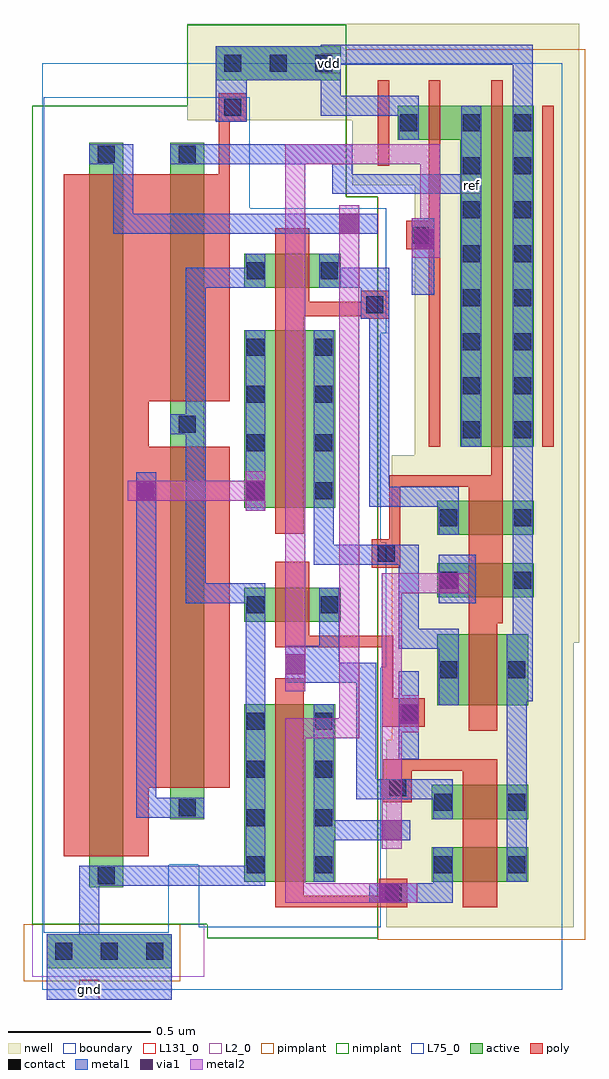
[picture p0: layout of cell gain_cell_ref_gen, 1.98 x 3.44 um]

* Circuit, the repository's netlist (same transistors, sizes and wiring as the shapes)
.SUBCKT gain_cell_ref_gen ref vdd gnd
*.PININFO ref:O gnd:B vdd:B
MM18 net86 net87 gnd gnd nch l=120.0n w=120.0n m=1
MM17 net89 net89 gnd gnd nch l=120.0n w=120.0n m=1
MM16 net85 net89 net84 gnd nch l=100n w=625.00n m=1
MM15 net87 net88 gnd gnd nch l=100n w=625.00n m=1
MM14 ref vdd gnd gnd nch l=800n w=120.0n m=1
MM12 net88 vdd gnd gnd nch l=2.4u w=120.0n m=1
MM13 net84 vdd gnd gnd nch l=1.2u w=120.0n m=1
MM25 net86 net86 vdd vdd pch l=120.0n w=120.0n m=1
MM24 net88 net86 vdd vdd pch l=120.0n w=120.0n m=1
MM23 ref net86 vdd vdd pch l=40n w=120n m=1
MM22 net87 net85 vdd vdd pch l=120.0n w=120.0n m=1
MM21 net89 net85 vdd vdd pch l=120.0n w=120.0n m=1
MM20 net85 net85 vdd vdd pch l=100n w=250.0n m=1
MM19 ref net85 vdd vdd pch l=40n w=1.2u m=1
.ENDS

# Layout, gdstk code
from math import pi, radians
import gdstk
lib = gdstk.Library(unit=1e-6, precision=1e-09)
def R(c, l, rs):  # rectangles x0, y0, x1, y1
    for r in rs: c.add(gdstk.rectangle(r[:2], r[2:], *l))
def A(c, l, x, y, w, h, nx, ny, dx, dy):  # array of equal rectangles
    R(c, l, [(x+i*dx, y+j*dy, x+i*dx+w, y+j*dy+h) for i in range(nx) for j in range(ny)])
L2_0 = (2, 0)
nwell = (3, 0)
active = (6, 0)
poly = (17, 0)
pimplant = (25, 0)
nimplant = (26, 0)
contact = (30, 0)
metal1 = (31, 0)
metal2 = (32, 0)
via1 = (51, 0)
L75_0 = (75, 0)
boundary = (108, 0)
L131_0 = (131, 0)

nch_cdns_730958929170 = lib.new_cell('nch_CDNS_730958929170')
R(nch_cdns_730958929170, active, [(-0.04,0,0,0.12), (0,0,0.8,0.12), (0.8,0,0.91,0.12)])
R(nch_cdns_730958929170, poly, [(0,-0.09,0.8,0), (0,0,0.8,0.12), (0,0.12,0.8,0.21)])
R(nch_cdns_730958929170, nimplant, [(-0.17,-0.2,1.04,0.32)])
R(nch_cdns_730958929170, contact, [(0.84,0.03,0.9,0.09)])
R(nch_cdns_730958929170, metal1, [(0.835,0,0.905,0.12)])
R(nch_cdns_730958929170, L75_0, [(-0.2,-0.16,1.07,0.28)])
nch_cdns_730958929170.add(gdstk.Label('& Vendor     Taiwan Semiconductor manufacturing Corp.', (0,0), layer=63, texttype=63))
nch_cdns_730958929170.add(gdstk.Label('& Product    tsmcN40_PDK', (0,0), layer=63, texttype=63))
nch_cdns_730958929170.add(gdstk.Label('& PDK TechNode "CRN40ULP"', (0,0), layer=63, texttype=63))
nch_cdns_730958929170.add(gdstk.Label('& PDK Version "tsmcN40_CRN40ULP_v1.5_2b_20200409"', (0,0), layer=63, texttype=63))
nch_cdns_730958929170.add(gdstk.Label('& Metric 1', (0,0), layer=63, texttype=63))
nch_cdns_730958929170.add(gdstk.Label('& Distributor TSMC', (0,0), layer=63, texttype=63))
nch_cdns_730958929170.add(gdstk.Label('& SerialNumber 000000', (0,0), layer=63, texttype=63))
nch_cdns_730958929170.add(gdstk.Label('D', (0.87,0.06), layer=127, texttype=0))
nch_cdns_730958929170.add(gdstk.Label('nch', (0,0.045), layer=127, texttype=0))
nch_cdns_730958929170.add(gdstk.Label('0.12/0.8', (0,0), layer=127, texttype=0))
nch_cdns_730958929170.add(gdstk.Label('[@instanceName]', (0.4,0.06), layer=127, texttype=0))

nch_cdns_730958929171 = lib.new_cell('nch_CDNS_730958929171')
R(nch_cdns_730958929171, active, [(-0.11,0,0,0.12), (0,0,0.12,0.12), (0.12,0,0.23,0.12)])
R(nch_cdns_730958929171, poly, [(0,-0.09,0.12,0), (0,0,0.12,0.12), (0,0.12,0.12,0.21)])
R(nch_cdns_730958929171, nimplant, [(-0.24,-0.2,0.36,0.32)])
R(nch_cdns_730958929171, contact, [(-0.1,0.03,-0.04,0.09), (0.16,0.03,0.22,0.09)])
R(nch_cdns_730958929171, metal1, [(-0.105,0,-0.035,0.12), (0.155,0,0.225,0.12)])
R(nch_cdns_730958929171, L75_0, [(-0.27,-0.16,0.39,0.28)])
nch_cdns_730958929171.add(gdstk.Label('& Vendor     Taiwan Semiconductor manufacturing Corp.', (0,0), layer=63, texttype=63))
nch_cdns_730958929171.add(gdstk.Label('& Product    tsmcN40_PDK', (0,0), layer=63, texttype=63))
nch_cdns_730958929171.add(gdstk.Label('& PDK TechNode "CRN40ULP"', (0,0), layer=63, texttype=63))
nch_cdns_730958929171.add(gdstk.Label('& PDK Version "tsmcN40_CRN40ULP_v1.5_2b_20200409"', (0,0), layer=63, texttype=63))
nch_cdns_730958929171.add(gdstk.Label('& Metric 1', (0,0), layer=63, texttype=63))
nch_cdns_730958929171.add(gdstk.Label('& Distributor TSMC', (0,0), layer=63, texttype=63))
nch_cdns_730958929171.add(gdstk.Label('& SerialNumber 000000', (0,0), layer=63, texttype=63))
nch_cdns_730958929171.add(gdstk.Label('S', (-0.07,0.06), layer=127, texttype=0))
nch_cdns_730958929171.add(gdstk.Label('D', (0.19,0.06), layer=127, texttype=0))
nch_cdns_730958929171.add(gdstk.Label('nch', (0,0.045), layer=127, texttype=0))
nch_cdns_730958929171.add(gdstk.Label('0.12/0.12', (0,0), layer=127, texttype=0))
nch_cdns_730958929171.add(gdstk.Label('[@instanceName]', (0.06,0.06), layer=127, texttype=0))

nch_cdns_730958929172 = lib.new_cell('nch_CDNS_730958929172')
R(nch_cdns_730958929172, active, [(-0.11,0,0,0.625), (0,0,0.1,0.625), (0.1,0,0.21,0.625)])
R(nch_cdns_730958929172, poly, [(0,-0.09,0.1,0), (0,0,0.1,0.625), (0,0.625,0.1,0.715)])
R(nch_cdns_730958929172, nimplant, [(-0.24,-0.2,0.34,0.825)])
A(nch_cdns_730958929172, contact, -0.1, 0.03, 0.06, 0.06, 1, 3, 0, 0.17)
A(nch_cdns_730958929172, contact, 0.14, 0.03, 0.06, 0.06, 1, 3, 0, 0.17)
R(nch_cdns_730958929172, contact, [(-0.1,0.535,-0.04,0.595), (0.14,0.535,0.2,0.595)])
R(nch_cdns_730958929172, metal1, [(-0.105,0,-0.035,0.625), (0.135,0,0.205,0.625)])
R(nch_cdns_730958929172, L75_0, [(-0.27,-0.16,0.37,0.785)])
nch_cdns_730958929172.add(gdstk.Label('& Vendor     Taiwan Semiconductor manufacturing Corp.', (0,0), layer=63, texttype=63))
nch_cdns_730958929172.add(gdstk.Label('& Product    tsmcN40_PDK', (0,0), layer=63, texttype=63))
nch_cdns_730958929172.add(gdstk.Label('& PDK TechNode "CRN40ULP"', (0,0), layer=63, texttype=63))
nch_cdns_730958929172.add(gdstk.Label('& PDK Version "tsmcN40_CRN40ULP_v1.5_2b_20200409"', (0,0), layer=63, texttype=63))
nch_cdns_730958929172.add(gdstk.Label('& Metric 1', (0,0), layer=63, texttype=63))
nch_cdns_730958929172.add(gdstk.Label('& Distributor TSMC', (0,0), layer=63, texttype=63))
nch_cdns_730958929172.add(gdstk.Label('& SerialNumber 000000', (0,0), layer=63, texttype=63))
nch_cdns_730958929172.add(gdstk.Label('S', (-0.07,0.312), layer=127, texttype=0))
nch_cdns_730958929172.add(gdstk.Label('D', (0.17,0.312), layer=127, texttype=0))
nch_cdns_730958929172.add(gdstk.Label('nch', (0,0.045), layer=127, texttype=0))
nch_cdns_730958929172.add(gdstk.Label('0.625/0.1', (0,0), layer=127, texttype=0))
nch_cdns_730958929172.add(gdstk.Label('[@instanceName]', (0.05,0.312), layer=127, texttype=0))

pch_cdns_730958929173 = lib.new_cell('pch_CDNS_730958929173')
R(pch_cdns_730958929173, nwell, [(-0.27,-0.16,0.31,1.36)])
R(pch_cdns_730958929173, active, [(-0.11,0,0,1.2), (0,0,0.04,1.2), (0.04,0,0.15,1.2)])
R(pch_cdns_730958929173, poly, [(0,-0.09,0.04,0), (-0.18,0,-0.14,1.2), (0,0,0.04,1.2), (0,1.2,0.04,1.29)])
R(pch_cdns_730958929173, pimplant, [(-0.29,-0.2,-0.24,1.4), (-0.24,-0.2,0.28,1.4)])
A(pch_cdns_730958929173, contact, -0.1, 0.03, 0.06, 0.06, 1, 7, 0, 0.155)
A(pch_cdns_730958929173, contact, 0.08, 0.03, 0.06, 0.06, 1, 7, 0, 0.155)
R(pch_cdns_730958929173, contact, [(-0.1,1.11,-0.04,1.17), (0.08,1.11,0.14,1.17)])
R(pch_cdns_730958929173, metal1, [(-0.105,0,-0.035,1.2), (0.075,0,0.145,1.2)])
pch_cdns_730958929173.add(gdstk.Label('& Vendor     Taiwan Semiconductor manufacturing Corp.', (0,0), layer=63, texttype=63))
pch_cdns_730958929173.add(gdstk.Label('& Product    tsmcN40_PDK', (0,0), layer=63, texttype=63))
pch_cdns_730958929173.add(gdstk.Label('& PDK TechNode "CRN40ULP"', (0,0), layer=63, texttype=63))
pch_cdns_730958929173.add(gdstk.Label('& PDK Version "tsmcN40_CRN40ULP_v1.5_2b_20200409"', (0,0), layer=63, texttype=63))
pch_cdns_730958929173.add(gdstk.Label('& Metric 1', (0,0), layer=63, texttype=63))
pch_cdns_730958929173.add(gdstk.Label('& Distributor TSMC', (0,0), layer=63, texttype=63))
pch_cdns_730958929173.add(gdstk.Label('& SerialNumber 000000', (0,0), layer=63, texttype=63))
pch_cdns_730958929173.add(gdstk.Label('S', (-0.07,0.6), layer=127, texttype=0))
pch_cdns_730958929173.add(gdstk.Label('D', (0.11,0.6), layer=127, texttype=0))
pch_cdns_730958929173.add(gdstk.Label('pch', (0,0.045), layer=127, texttype=0))
pch_cdns_730958929173.add(gdstk.Label('1.2/0.04', (0,0), layer=127, texttype=0))
pch_cdns_730958929173.add(gdstk.Label('[@instanceName]', (0.02,0.6), layer=127, texttype=0))

pch_cdns_730958929174 = lib.new_cell('pch_CDNS_730958929174')
R(pch_cdns_730958929174, nwell, [(-0.27,-0.16,0.37,0.41)])
R(pch_cdns_730958929174, active, [(-0.11,0,0,0.25), (0,0,0.1,0.25), (0.1,0,0.21,0.25)])
R(pch_cdns_730958929174, poly, [(0,-0.09,0.1,0), (0,0,0.1,0.25), (0,0.25,0.1,0.34)])
R(pch_cdns_730958929174, pimplant, [(-0.24,-0.2,0.34,0.45)])
R(pch_cdns_730958929174, contact, [(-0.1,0.095,-0.04,0.155), (0.14,0.095,0.2,0.155)])
R(pch_cdns_730958929174, metal1, [(-0.105,0,-0.035,0.25), (0.135,0,0.205,0.25)])
pch_cdns_730958929174.add(gdstk.Label('& Vendor     Taiwan Semiconductor manufacturing Corp.', (0,0), layer=63, texttype=63))
pch_cdns_730958929174.add(gdstk.Label('& Product    tsmcN40_PDK', (0,0), layer=63, texttype=63))
pch_cdns_730958929174.add(gdstk.Label('& PDK TechNode "CRN40ULP"', (0,0), layer=63, texttype=63))
pch_cdns_730958929174.add(gdstk.Label('& PDK Version "tsmcN40_CRN40ULP_v1.5_2b_20200409"', (0,0), layer=63, texttype=63))
pch_cdns_730958929174.add(gdstk.Label('& Metric 1', (0,0), layer=63, texttype=63))
pch_cdns_730958929174.add(gdstk.Label('& Distributor TSMC', (0,0), layer=63, texttype=63))
pch_cdns_730958929174.add(gdstk.Label('& SerialNumber 000000', (0,0), layer=63, texttype=63))
pch_cdns_730958929174.add(gdstk.Label('S', (-0.07,0.125), layer=127, texttype=0))
pch_cdns_730958929174.add(gdstk.Label('D', (0.17,0.125), layer=127, texttype=0))
pch_cdns_730958929174.add(gdstk.Label('pch', (0,0.045), layer=127, texttype=0))
pch_cdns_730958929174.add(gdstk.Label('0.25/0.1', (0,0), layer=127, texttype=0))
pch_cdns_730958929174.add(gdstk.Label('[@instanceName]', (0.05,0.125), layer=127, texttype=0))

pch_cdns_730958929175 = lib.new_cell('pch_CDNS_730958929175')
R(pch_cdns_730958929175, nwell, [(-0.27,-0.16,0.39,0.28)])
R(pch_cdns_730958929175, active, [(-0.11,0,0,0.12), (0,0,0.12,0.12), (0.12,0,0.23,0.12)])
R(pch_cdns_730958929175, poly, [(0,-0.09,0.12,0), (0,0,0.12,0.12), (0,0.12,0.12,0.21)])
R(pch_cdns_730958929175, pimplant, [(-0.24,-0.2,0.36,0.32)])
R(pch_cdns_730958929175, contact, [(-0.1,0.03,-0.04,0.09), (0.16,0.03,0.22,0.09)])
R(pch_cdns_730958929175, metal1, [(-0.105,0,-0.035,0.12), (0.155,0,0.225,0.12)])
pch_cdns_730958929175.add(gdstk.Label('& Vendor     Taiwan Semiconductor manufacturing Corp.', (0,0), layer=63, texttype=63))
pch_cdns_730958929175.add(gdstk.Label('& Product    tsmcN40_PDK', (0,0), layer=63, texttype=63))
pch_cdns_730958929175.add(gdstk.Label('& PDK TechNode "CRN40ULP"', (0,0), layer=63, texttype=63))
pch_cdns_730958929175.add(gdstk.Label('& PDK Version "tsmcN40_CRN40ULP_v1.5_2b_20200409"', (0,0), layer=63, texttype=63))
pch_cdns_730958929175.add(gdstk.Label('& Metric 1', (0,0), layer=63, texttype=63))
pch_cdns_730958929175.add(gdstk.Label('& Distributor TSMC', (0,0), layer=63, texttype=63))
pch_cdns_730958929175.add(gdstk.Label('& SerialNumber 000000', (0,0), layer=63, texttype=63))
pch_cdns_730958929175.add(gdstk.Label('S', (-0.07,0.06), layer=127, texttype=0))
pch_cdns_730958929175.add(gdstk.Label('D', (0.19,0.06), layer=127, texttype=0))
pch_cdns_730958929175.add(gdstk.Label('pch', (0,0.045), layer=127, texttype=0))
pch_cdns_730958929175.add(gdstk.Label('0.12/0.12', (0,0), layer=127, texttype=0))
pch_cdns_730958929175.add(gdstk.Label('[@instanceName]', (0.06,0.06), layer=127, texttype=0))

pch_cdns_730958929176 = lib.new_cell('pch_CDNS_730958929176')
R(pch_cdns_730958929176, nwell, [(-0.27,-0.16,0.39,0.28)])
R(pch_cdns_730958929176, active, [(-0.11,0,0,0.12), (0,0,0.12,0.12), (0.12,0,0.23,0.12)])
R(pch_cdns_730958929176, poly, [(0,-0.09,0.12,0), (0,0,0.12,0.12), (0,0.12,0.12,0.21)])
R(pch_cdns_730958929176, pimplant, [(-0.24,-0.2,0.36,0.32)])
R(pch_cdns_730958929176, contact, [(-0.1,0.03,-0.04,0.09), (0.16,0.03,0.22,0.09)])
R(pch_cdns_730958929176, metal1, [(-0.105,0,-0.035,0.12), (0.155,0,0.225,0.12)])
pch_cdns_730958929176.add(gdstk.Label('& Vendor     Taiwan Semiconductor manufacturing Corp.', (0,0), layer=63, texttype=63))
pch_cdns_730958929176.add(gdstk.Label('& Product    tsmcN40_PDK', (0,0), layer=63, texttype=63))
pch_cdns_730958929176.add(gdstk.Label('& PDK TechNode "CRN40ULP"', (0,0), layer=63, texttype=63))
pch_cdns_730958929176.add(gdstk.Label('& PDK Version "tsmcN40_CRN40ULP_v1.5_2b_20200409"', (0,0), layer=63, texttype=63))
pch_cdns_730958929176.add(gdstk.Label('& Metric 1', (0,0), layer=63, texttype=63))
pch_cdns_730958929176.add(gdstk.Label('& Distributor TSMC', (0,0), layer=63, texttype=63))
pch_cdns_730958929176.add(gdstk.Label('& SerialNumber 000000', (0,0), layer=63, texttype=63))
pch_cdns_730958929176.add(gdstk.Label('S', (-0.07,0.06), layer=127, texttype=0))
pch_cdns_730958929176.add(gdstk.Label('D', (0.19,0.06), layer=127, texttype=0))
pch_cdns_730958929176.add(gdstk.Label('pch', (0,0.045), layer=127, texttype=0))
pch_cdns_730958929176.add(gdstk.Label('0.12/0.12', (0,0), layer=127, texttype=0))
pch_cdns_730958929176.add(gdstk.Label('[@instanceName]', (0.06,0.06), layer=127, texttype=0))

pch_cdns_730958929177 = lib.new_cell('pch_CDNS_730958929177')
R(pch_cdns_730958929177, nwell, [(-0.27,-0.16,0.27,0.28)])
R(pch_cdns_730958929177, active, [(-0.11,0,0,0.12), (0,0,0.04,0.12), (0.04,0,0.11,0.12)])
R(pch_cdns_730958929177, poly, [(-0.18,-0.09,-0.14,0.21), (0,-0.09,0.04,0), (0,0,0.04,0.12), (0,0.12,0.04,0.21)])
R(pch_cdns_730958929177, pimplant, [(-0.29,-0.2,-0.24,0.32), (-0.24,-0.2,0.24,0.32)])
R(pch_cdns_730958929177, contact, [(-0.1,0.03,-0.04,0.09)])
R(pch_cdns_730958929177, metal1, [(-0.105,0,-0.035,0.12)])
pch_cdns_730958929177.add(gdstk.Label('& Vendor     Taiwan Semiconductor manufacturing Corp.', (0,0), layer=63, texttype=63))
pch_cdns_730958929177.add(gdstk.Label('& Product    tsmcN40_PDK', (0,0), layer=63, texttype=63))
pch_cdns_730958929177.add(gdstk.Label('& PDK TechNode "CRN40ULP"', (0,0), layer=63, texttype=63))
pch_cdns_730958929177.add(gdstk.Label('& PDK Version "tsmcN40_CRN40ULP_v1.5_2b_20200409"', (0,0), layer=63, texttype=63))
pch_cdns_730958929177.add(gdstk.Label('& Metric 1', (0,0), layer=63, texttype=63))
pch_cdns_730958929177.add(gdstk.Label('& Distributor TSMC', (0,0), layer=63, texttype=63))
pch_cdns_730958929177.add(gdstk.Label('& SerialNumber 000000', (0,0), layer=63, texttype=63))
pch_cdns_730958929177.add(gdstk.Label('S', (-0.07,0.06), layer=127, texttype=0))
pch_cdns_730958929177.add(gdstk.Label('pch', (0,0.045), layer=127, texttype=0))
pch_cdns_730958929177.add(gdstk.Label('0.12/0.04', (0,0), layer=127, texttype=0))
pch_cdns_730958929177.add(gdstk.Label('[@instanceName]', (0.02,0.06), layer=127, texttype=0))

nch_cdns_730958929178 = lib.new_cell('nch_CDNS_730958929178')
R(nch_cdns_730958929178, active, [(-0.11,0,0,0.625), (0,0,0.1,0.625), (0.1,0,0.21,0.625)])
R(nch_cdns_730958929178, poly, [(0,-0.09,0.1,0), (0,0,0.1,0.625), (0,0.625,0.1,0.715)])
R(nch_cdns_730958929178, nimplant, [(-0.24,-0.2,0.34,0.825)])
A(nch_cdns_730958929178, contact, -0.1, 0.03, 0.06, 0.06, 1, 3, 0, 0.17)
A(nch_cdns_730958929178, contact, 0.14, 0.03, 0.06, 0.06, 1, 3, 0, 0.17)
R(nch_cdns_730958929178, contact, [(-0.1,0.535,-0.04,0.595), (0.14,0.535,0.2,0.595)])
R(nch_cdns_730958929178, metal1, [(-0.105,0,-0.035,0.625), (0.135,0,0.205,0.625)])
R(nch_cdns_730958929178, L75_0, [(-0.27,-0.16,0.37,0.785)])
nch_cdns_730958929178.add(gdstk.Label('& Vendor     Taiwan Semiconductor manufacturing Corp.', (0,0), layer=63, texttype=63))
nch_cdns_730958929178.add(gdstk.Label('& Product    tsmcN40_PDK', (0,0), layer=63, texttype=63))
nch_cdns_730958929178.add(gdstk.Label('& PDK TechNode "CRN40ULP"', (0,0), layer=63, texttype=63))
nch_cdns_730958929178.add(gdstk.Label('& PDK Version "tsmcN40_CRN40ULP_v1.5_2b_20200409"', (0,0), layer=63, texttype=63))
nch_cdns_730958929178.add(gdstk.Label('& Metric 1', (0,0), layer=63, texttype=63))
nch_cdns_730958929178.add(gdstk.Label('& Distributor TSMC', (0,0), layer=63, texttype=63))
nch_cdns_730958929178.add(gdstk.Label('& SerialNumber 000000', (0,0), layer=63, texttype=63))
nch_cdns_730958929178.add(gdstk.Label('S', (-0.07,0.312), layer=127, texttype=0))
nch_cdns_730958929178.add(gdstk.Label('D', (0.17,0.312), layer=127, texttype=0))
nch_cdns_730958929178.add(gdstk.Label('nch', (0,0.045), layer=127, texttype=0))
nch_cdns_730958929178.add(gdstk.Label('0.625/0.1', (0,0), layer=127, texttype=0))
nch_cdns_730958929178.add(gdstk.Label('[@instanceName]', (0.05,0.312), layer=127, texttype=0))

nch_cdns_730958929179 = lib.new_cell('nch_CDNS_730958929179')
R(nch_cdns_730958929179, active, [(-0.12,0,0,0.12), (0,0,1.2,0.12), (1.2,0,1.31,0.12)])
R(nch_cdns_730958929179, poly, [(0,-0.09,1.2,0), (0,0,1.2,0.12), (0,0.12,1.2,0.21)])
R(nch_cdns_730958929179, nimplant, [(-0.25,-0.2,1.44,0.32)])
R(nch_cdns_730958929179, contact, [(-0.11,0.03,-0.05,0.09), (1.24,0.03,1.3,0.09)])
R(nch_cdns_730958929179, metal1, [(-0.115,0,-0.045,0.12), (1.235,0,1.305,0.12)])
R(nch_cdns_730958929179, L75_0, [(-0.28,-0.16,1.47,0.28)])
nch_cdns_730958929179.add(gdstk.Label('& Vendor     Taiwan Semiconductor manufacturing Corp.', (0,0), layer=63, texttype=63))
nch_cdns_730958929179.add(gdstk.Label('& Product    tsmcN40_PDK', (0,0), layer=63, texttype=63))
nch_cdns_730958929179.add(gdstk.Label('& PDK TechNode "CRN40ULP"', (0,0), layer=63, texttype=63))
nch_cdns_730958929179.add(gdstk.Label('& PDK Version "tsmcN40_CRN40ULP_v1.5_2b_20200409"', (0,0), layer=63, texttype=63))
nch_cdns_730958929179.add(gdstk.Label('& Metric 1', (0,0), layer=63, texttype=63))
nch_cdns_730958929179.add(gdstk.Label('& Distributor TSMC', (0,0), layer=63, texttype=63))
nch_cdns_730958929179.add(gdstk.Label('& SerialNumber 000000', (0,0), layer=63, texttype=63))
nch_cdns_730958929179.add(gdstk.Label('S', (-0.08,0.06), layer=127, texttype=0))
nch_cdns_730958929179.add(gdstk.Label('D', (1.27,0.06), layer=127, texttype=0))
nch_cdns_730958929179.add(gdstk.Label('nch', (0,0.045), layer=127, texttype=0))
nch_cdns_730958929179.add(gdstk.Label('0.12/1.2', (0,0), layer=127, texttype=0))
nch_cdns_730958929179.add(gdstk.Label('[@instanceName]', (0.6,0.06), layer=127, texttype=0))

nch_cdns_7309589291711 = lib.new_cell('nch_CDNS_7309589291711')
R(nch_cdns_7309589291711, active, [(-0.11,0,0,0.12), (0,0,2.4,0.12), (2.4,0,2.51,0.12)])
R(nch_cdns_7309589291711, poly, [(0,-0.09,2.4,0), (0,0,2.4,0.12), (0,0.12,2.4,0.21)])
R(nch_cdns_7309589291711, nimplant, [(-0.24,-0.2,2.64,0.32)])
R(nch_cdns_7309589291711, contact, [(-0.1,0.03,-0.04,0.09), (2.44,0.03,2.5,0.09)])
R(nch_cdns_7309589291711, metal1, [(-0.105,0,-0.035,0.12), (2.435,0,2.505,0.12)])
R(nch_cdns_7309589291711, L75_0, [(-0.27,-0.16,2.67,0.28)])
nch_cdns_7309589291711.add(gdstk.Label('& Vendor     Taiwan Semiconductor manufacturing Corp.', (0,0), layer=63, texttype=63))
nch_cdns_7309589291711.add(gdstk.Label('& Product    tsmcN40_PDK', (0,0), layer=63, texttype=63))
nch_cdns_7309589291711.add(gdstk.Label('& PDK TechNode "CRN40ULP"', (0,0), layer=63, texttype=63))
nch_cdns_7309589291711.add(gdstk.Label('& PDK Version "tsmcN40_CRN40ULP_v1.5_2b_20200409"', (0,0), layer=63, texttype=63))
nch_cdns_7309589291711.add(gdstk.Label('& Metric 1', (0,0), layer=63, texttype=63))
nch_cdns_7309589291711.add(gdstk.Label('& Distributor TSMC', (0,0), layer=63, texttype=63))
nch_cdns_7309589291711.add(gdstk.Label('& SerialNumber 000000', (0,0), layer=63, texttype=63))
nch_cdns_7309589291711.add(gdstk.Label('S', (-0.07,0.06), layer=127, texttype=0))
nch_cdns_7309589291711.add(gdstk.Label('D', (2.47,0.06), layer=127, texttype=0))
nch_cdns_7309589291711.add(gdstk.Label('nch', (0,0.045), layer=127, texttype=0))
nch_cdns_7309589291711.add(gdstk.Label('0.12/2.4', (0,0), layer=127, texttype=0))
nch_cdns_7309589291711.add(gdstk.Label('[@instanceName]', (1.2,0.06), layer=127, texttype=0))

m1_od_cdns_731296106570 = lib.new_cell('M1_OD_CDNS_731296106570')
R(m1_od_cdns_731296106570, active, [(-0.22,-0.06,0.22,0.06)])
A(m1_od_cdns_731296106570, contact, -0.19, -0.03, 0.06, 0.06, 3, 1, 0.16, 0)
R(m1_od_cdns_731296106570, metal1, [(-0.22,-0.06,0.22,0.06)])

gain_cell_ref_gen = lib.new_cell('gain_cell_ref_gen')
R(gain_cell_ref_gen, L2_0, [(-0.035,0.045,0.57,0.23)])
R(gain_cell_ref_gen, nwell, [(0.51,3.06,0.55,3.4), (0.55,3.06,1.09,3.4), (0.55,3.14,1.89,3.325), (0.55,3.215,1.09,3.4), (0.51,3.325,1.89,3.33), (1.09,3.325,1.89,3.4)])
R(gain_cell_ref_gen, poly, [(0.82,0.29,1.255,0.33), (1.185,0.29,1.285,0.39), (1.2,0.66,1.3,0.785), (1.24,0.66,1.28,0.81), (1.2,0.77,1.24,0.81), (1.24,0.77,1.6,0.81), (1.195,0.925,1.235,0.97), (1.235,0.925,1.345,1.025), (1.195,0.96,1.235,1.09), (1.195,1.08,1.235,1.245), (0.94,1.205,1.195,1.245), (1.16,1.485,1.26,1.585), (1.22,1.485,1.26,1.805), (1.22,1.77,1.5,1.81), (1.12,2.36,1.22,2.46), (0.82,2.37,1.14,2.42), (1.28,2.605,1.38,2.705), (0.62,2.77,0.66,3.075), (0.62,3.055,0.72,3.155)])
R(gain_cell_ref_gen, pimplant, [(-0.065,0.03,0.485,0.23), (1.18,0.175,1.91,2.785), (1.18,2.785,1.91,2.79)])
R(gain_cell_ref_gen, nimplant, [(1.16,0.18,1.18,1.865), (0.485,0.23,0.58,0.505), (1.16,1.865,1.18,2.27), (0.77,2.79,1.07,3.11), (0.51,3.11,0.575,3.395), (0.575,3.11,1.07,3.185), (0.575,3.185,1.07,3.215), (0.575,3.215,1.07,3.395)])
R(gain_cell_ref_gen, contact, [(1.205,0.31,1.265,0.37), (1.22,0.68,1.28,0.74), (1.265,0.945,1.325,1.005), (1.18,1.505,1.24,1.565), (1.14,2.38,1.2,2.44), (1.3,2.625,1.36,2.685), (0.64,3.075,0.7,3.135)])
R(gain_cell_ref_gen, metal1, [(0.015,-0.035,0.455,-0.005), (0.015,-0.005,0.455,0.075), (0.13,-0.005,0.2,0.175), (1.34,0.305,1.445,0.375), (0.13,0.365,0.295,0.435), (0.33,0.605,0.4,0.745), (0.33,0.605,0.45,0.675), (1.105,0.67,1.445,0.74), (1.255,0.81,1.325,1.12), (0.855,1.08,0.925,1.21), (1.07,1.08,1.175,1.15), (0.925,1.15,0.975,1.18), (0.925,1.18,0.975,1.21), (1.255,1.2,1.465,1.27), (0.505,1.36,0.605,1.43), (1.395,1.36,1.525,1.53), (0.955,1.495,1.05,1.565), (1.215,1.495,1.325,1.565), (0.715,1.685,0.785,1.695), (1.15,1.7,1.26,1.77), (1.12,2.36,1.22,2.505), (1.3,2.445,1.38,2.715), (0.505,2.47,0.62,2.54), (0.25,2.66,0.355,2.73), (1.02,2.8,1.125,2.87), (1.405,2.8,1.545,2.87), (0.61,3.055,0.72,3.2), (0.98,3.075,1.09,3.145), (1.59,3.255,1.725,3.325)])
R(gain_cell_ref_gen, metal2, [(0.855,0.305,0.965,0.375), (1.195,0.495,1.265,1.455), (0.855,0.885,1.115,0.955), (0.855,0.885,1.115,0.955), (1.265,0.905,1.325,1.035), (1.045,0.92,1.115,2.76), (0.855,1.05,0.925,2.905), (1.195,1.395,1.5,1.465), (0.715,1.685,0.785,1.825), (0.3,1.72,0.785,1.79), (1.3,2.575,1.4,2.715), (1.31,2.575,1.38,2.62), (1.33,2.62,1.4,2.975), (0.855,2.905,0.925,2.975), (0.895,2.905,1.275,2.975), (1.205,2.905,1.4,2.975)])
R(gain_cell_ref_gen, via1, [(1.185,0.305,1.255,0.375), (1.195,0.525,1.265,0.595), (1.255,0.935,1.325,1.005), (0.855,1.11,0.925,1.18), (1.395,1.395,1.465,1.465), (0.33,1.72,0.4,1.79), (0.715,1.72,0.785,1.79), (1.31,2.605,1.38,2.675), (1.045,2.66,1.115,2.73)])
R(gain_cell_ref_gen, boundary, [(0,0,1.83,3.26)])
R(gain_cell_ref_gen, L131_0, [(0.13,-0.035,0.2,0.035), (1.475,2.8,1.545,2.87), (0.98,3.225,1.05,3.295)])
gain_cell_ref_gen.add(gdstk.FlexPath([(0.75,1.395),(0.75,1.425)], 0.07, ends=(0.035, 0), simple_path=True, layer=31, datatype=0))  # metal1
gain_cell_ref_gen.add(gdstk.FlexPath([(1.055,2.94),(1.055,2.835)], 0.07, ends="extended", simple_path=True, layer=31, datatype=0))  # metal1
gain_cell_ref_gen.add(gdstk.FlexPath([(0.55,2.94),(1.055,2.94)], 0.07, ends=(0, 0.035), simple_path=True, layer=31, datatype=0))  # metal1
gain_cell_ref_gen.add(gdstk.FlexPath([(1.055,2.835),(1.465,2.835)], 0.07, ends=(0.035, 0), simple_path=True, layer=31, datatype=0))  # metal1
gain_cell_ref_gen.add(gdstk.FlexPath([(0.54,1.395),(0.75,1.395)], 0.07, ends="extended", simple_path=True, layer=31, datatype=0))  # metal1
gain_cell_ref_gen.add(gdstk.FlexPath([(0.54,2.505),(0.785,2.505)], 0.07, ends=(0.035, 0), simple_path=True, layer=31, datatype=0))  # metal1
gain_cell_ref_gen.add(gdstk.FlexPath([(0.54,1.99),(0.54,2.505)], 0.07, ends="extended", simple_path=True, layer=31, datatype=0))  # metal1
gain_cell_ref_gen.add(gdstk.FlexPath([(0.54,1.99),(0.54,1.395)], 0.07, ends="extended", simple_path=True, layer=31, datatype=0))  # metal1
gain_cell_ref_gen.add(gdstk.FlexPath([(1.69,1.7),(1.655,1.7)], 0.07, ends=(0.035, 0), simple_path=True, layer=31, datatype=0))  # metal1
gain_cell_ref_gen.add(gdstk.FlexPath([(1.69,1.92),(1.69,1.7)], 0.07, ends=(0, 0.035), simple_path=True, layer=31, datatype=0))  # metal1
gain_cell_ref_gen.add(gdstk.FlexPath([(1.69,1.615),(1.69,1.43)], 0.07, ends=(0, 0.035), simple_path=True, layer=31, datatype=0))  # metal1
gain_cell_ref_gen.add(gdstk.FlexPath([(1.69,1.43),(1.725,1.43)], 0.07, ends=(0.035, 0), simple_path=True, layer=31, datatype=0))  # metal1
gain_cell_ref_gen.add(gdstk.FlexPath([(1.69,1.395),(1.69,1.05)], 0.07, ends=(0, 0.035), simple_path=True, layer=31, datatype=0))  # metal1
gain_cell_ref_gen.add(gdstk.FlexPath([(1.69,1.05),(1.705,1.05)], 0.07, ends=(0.035, 0), simple_path=True, layer=31, datatype=0))  # metal1
gain_cell_ref_gen.add(gdstk.FlexPath([(1.67,1.015),(1.67,0.43)], 0.07, ends=(0, 0.035), simple_path=True, layer=31, datatype=0))  # metal1
gain_cell_ref_gen.add(gdstk.FlexPath([(1.67,0.43),(1.705,0.43)], 0.07, ends=(0.035, 0), simple_path=True, layer=31, datatype=0))  # metal1
gain_cell_ref_gen.add(gdstk.FlexPath([(0.75,0.97),(0.785,0.97)], 0.07, ends=(0.035, 0), simple_path=True, layer=31, datatype=0))  # metal1
gain_cell_ref_gen.add(gdstk.FlexPath([(1.185,1.735),(1.185,2.505)], 0.07, ends=(0.035, 0), simple_path=True, layer=31, datatype=0))  # metal1
gain_cell_ref_gen.add(gdstk.FlexPath([(1.43,1.735),(1.185,1.735)], 0.07, ends="extended", simple_path=True, layer=31, datatype=0))  # metal1
gain_cell_ref_gen.add(gdstk.FlexPath([(1.29,1.53),(1.29,1.235)], 0.07, ends="extended", simple_path=True, layer=31, datatype=0))  # metal1
gain_cell_ref_gen.add(gdstk.FlexPath([(0.75,1.335),(0.75,0.97)], 0.07, ends=(0, 0.035), simple_path=True, layer=31, datatype=0))  # metal1
gain_cell_ref_gen.add(gdstk.FlexPath([(0.285,0.4),(0.785,0.4)], 0.07, ends="flush", simple_path=True, layer=31, datatype=0))  # metal1
gain_cell_ref_gen.add(gdstk.FlexPath([(1.01,2.505),(1.22,2.505)], 0.07, ends=(0.035, 0), simple_path=True, layer=31, datatype=0))  # metal1
gain_cell_ref_gen.add(gdstk.FlexPath([(1.01,2.5),(1.01,2.505)], 0.07, ends=(0, 0.035), simple_path=True, layer=31, datatype=0))  # metal1
gain_cell_ref_gen.add(gdstk.FlexPath([(0.99,0.57),(0.99,0.56)], 0.07, ends=(0, 0.035), simple_path=True, layer=31, datatype=0))  # metal1
gain_cell_ref_gen.add(gdstk.FlexPath([(1.01,1.115),(1.135,1.115)], 0.07, ends="extended", simple_path=True, layer=31, datatype=0))  # metal1
gain_cell_ref_gen.add(gdstk.FlexPath([(0.285,2.94),(0.285,2.695)], 0.07, ends="extended", simple_path=True, layer=31, datatype=0))  # metal1
gain_cell_ref_gen.add(gdstk.FlexPath([(0.285,2.695),(1.18,2.695)], 0.07, ends=(0.035, 0), simple_path=True, layer=31, datatype=0))  # metal1
gain_cell_ref_gen.add(gdstk.FlexPath([(1.41,0.405),(1.41,0.34)], 0.07, ends=(0, 0.035), simple_path=True, layer=31, datatype=0))  # metal1
gain_cell_ref_gen.add(gdstk.FlexPath([(1.41,0.34),(1.15,0.34)], 0.07, ends=(0.035, 0), simple_path=True, layer=31, datatype=0))  # metal1
gain_cell_ref_gen.add(gdstk.FlexPath([(0.165,0.4),(0.165,0.115)], 0.07, ends=(0.035, 0), simple_path=True, layer=31, datatype=0))  # metal1
gain_cell_ref_gen.add(gdstk.FlexPath([(0.99,1.53),(1.29,1.53)], 0.07, ends="extended", simple_path=True, layer=31, datatype=0))  # metal1
gain_cell_ref_gen.add(gdstk.FlexPath([(1.29,1.235),(1.465,1.235)], 0.07, ends=(0.035, 0), simple_path=True, layer=31, datatype=0))  # metal1
gain_cell_ref_gen.add(gdstk.FlexPath([(0.99,1.705),(0.99,1.53)], 0.07, ends=(0, 0.035), simple_path=True, layer=31, datatype=0))  # metal1
gain_cell_ref_gen.add(gdstk.FlexPath([(1.01,1.115),(1.01,1.305)], 0.07, ends=(0.035, 0), simple_path=True, layer=31, datatype=0))  # metal1
gain_cell_ref_gen.add(gdstk.FlexPath([(0.89,1.115),(1.01,1.115)], 0.07, ends="extended", simple_path=True, layer=31, datatype=0))  # metal1
gain_cell_ref_gen.add(gdstk.FlexPath([(1.14,1.115),(1.14,0.705)], 0.07, ends="extended", simple_path=True, layer=31, datatype=0))  # metal1
gain_cell_ref_gen.add(gdstk.FlexPath([(0.99,0.56),(1.295,0.56)], 0.07, ends=(0.035, 0), simple_path=True, layer=31, datatype=0))  # metal1
gain_cell_ref_gen.add(gdstk.FlexPath([(0.89,1.11),(0.89,1.115)], 0.07, ends=(0, 0.035), simple_path=True, layer=31, datatype=0))  # metal1
gain_cell_ref_gen.add(gdstk.FlexPath([(0.45,0.64),(0.365,0.64)], 0.07, ends=(0, 0.035), simple_path=True, layer=31, datatype=0))  # metal1
gain_cell_ref_gen.add(gdstk.FlexPath([(0.365,0.64),(0.365,1.82)], 0.07, ends=(0.035, 0), simple_path=True, layer=31, datatype=0))  # metal1
gain_cell_ref_gen.add(gdstk.FlexPath([(1.015,3.11),(1.29,3.11)], 0.07, ends="extended", simple_path=True, layer=31, datatype=0))  # metal1
gain_cell_ref_gen.add(gdstk.FlexPath([(1.015,3.29),(1.015,3.11)], 0.07, ends="extended", simple_path=True, layer=31, datatype=0))  # metal1
gain_cell_ref_gen.add(gdstk.FlexPath([(1.14,0.705),(1.41,0.705)], 0.07, ends="extended", simple_path=True, layer=31, datatype=0))  # metal1
gain_cell_ref_gen.add(gdstk.FlexPath([(1.41,0.705),(1.41,0.72)], 0.07, ends=(0.035, 0), simple_path=True, layer=31, datatype=0))  # metal1
gain_cell_ref_gen.add(gdstk.FlexPath([(1.69,3.11),(1.69,3.29)], 0.07, ends=(0, 0.035), simple_path=True, layer=31, datatype=0))  # metal1
gain_cell_ref_gen.add(gdstk.FlexPath([(1.69,3.29),(1.015,3.29)], 0.07, ends="extended", simple_path=True, layer=31, datatype=0))  # metal1
gain_cell_ref_gen.add(gdstk.FlexPath([(1.38,2.895),(1.36,2.895)], 0.04, ends=(0.02, 0), simple_path=True, layer=17, datatype=0))  # poly
gain_cell_ref_gen.add(gdstk.FlexPath([(1.38,2.92),(1.38,2.9)], 0.04, ends=(0, 0.02), simple_path=True, layer=17, datatype=0))  # poly
gain_cell_ref_gen.add(gdstk.FlexPath([(1.38,2.9),(1.38,1.91)], 0.04, ends=(0.02, 0), simple_path=True, layer=17, datatype=0))  # poly
gain_cell_ref_gen.add(gdstk.FlexPath([(1.6,1.82),(1.6,1.795)], 0.04, ends=(0, 0.02), simple_path=True, layer=17, datatype=0))  # poly
gain_cell_ref_gen.add(gdstk.FlexPath([(1.6,1.795),(1.62,1.795)], 0.04, ends=(0.02, 0), simple_path=True, layer=17, datatype=0))  # poly
gain_cell_ref_gen.add(gdstk.FlexPath([(1.08,0.92),(0.89,0.92)], 0.07, ends="extended", simple_path=True, layer=32, datatype=0))  # metal2
gain_cell_ref_gen.add(gdstk.FlexPath([(0.89,0.92),(0.89,0.34)], 0.07, ends="extended", simple_path=True, layer=32, datatype=0))  # metal2
gain_cell_ref_gen.add(gdstk.FlexPath([(0.89,0.34),(1.32,0.34)], 0.07, ends=(0.035, 0), simple_path=True, layer=32, datatype=0))  # metal2
gain_cell_ref_gen.add(gdstk.Reference(nch_cdns_730958929170, (0.45,2.07), rotation=pi/2, x_reflection=True))
gain_cell_ref_gen.add(gdstk.Reference(nch_cdns_730958929171, (0.82,2.47)))
gain_cell_ref_gen.add(gdstk.Reference(nch_cdns_730958929171, (0.82,1.295)))
gain_cell_ref_gen.add(gdstk.Reference(nch_cdns_730958929172, (0.82,1.695)))
gain_cell_ref_gen.add(gdstk.Reference(pch_cdns_730958929173, (1.62,1.91), rotation=pi, x_reflection=True))
gain_cell_ref_gen.add(gdstk.Reference(pch_cdns_730958929174, (1.6,1), rotation=pi, x_reflection=True))
gain_cell_ref_gen.add(gdstk.Reference(pch_cdns_730958929175, (1.62,1.6), rotation=pi, x_reflection=True))
gain_cell_ref_gen.add(gdstk.Reference(pch_cdns_730958929175, (1.62,1.38), rotation=pi, x_reflection=True))
gain_cell_ref_gen.add(gdstk.Reference(pch_cdns_730958929175, (1.6,0.38), rotation=pi, x_reflection=True))
gain_cell_ref_gen.add(gdstk.Reference(pch_cdns_730958929176, (1.6,0.6), rotation=pi, x_reflection=True))
gain_cell_ref_gen.add(gdstk.Reference(pch_cdns_730958929177, (1.36,2.99)))
gain_cell_ref_gen.add(gdstk.Reference(nch_cdns_730958929178, (0.82,1.005), x_reflection=True))
gain_cell_ref_gen.add(gdstk.Reference(nch_cdns_730958929179, (0.45,1.91), rotation=3*pi/2))
gain_cell_ref_gen.add(gdstk.Reference(nch_cdns_7309589291711, (0.165,0.47), rotation=pi/2, x_reflection=True))
gain_cell_ref_gen.add(gdstk.Reference(m1_od_cdns_731296106570, (0.83,3.26)))
gain_cell_ref_gen.add(gdstk.Reference(m1_od_cdns_731296106570, (0.235,0.135)))
gain_cell_ref_gen.add(gdstk.Label('vdd', (1.01,3.26), layer=131, texttype=0))
gain_cell_ref_gen.add(gdstk.Label('gnd', (0.165,0), layer=131, texttype=0))
gain_cell_ref_gen.add(gdstk.Label('ref', (1.51,2.83), layer=131, texttype=0))

lib.write_gds('gain_cell_ref_gen.gds')
